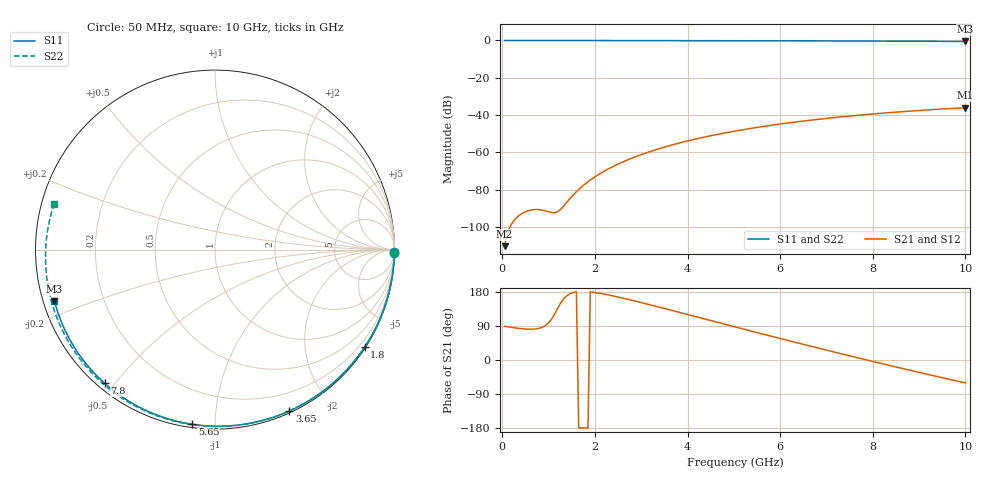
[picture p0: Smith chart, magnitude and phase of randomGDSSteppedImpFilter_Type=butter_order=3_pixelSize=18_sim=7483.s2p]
! freq	dB(S11)	phase(S11)	dB(S12)	phase(S12)
!  dB(S21)	phase(S21)	dB(S22)	phase(S22)
!S-par simulation data
#  GHz  S  DB  R 50
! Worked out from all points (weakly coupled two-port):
!   200 points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, 50 MHz to 10 GHz, reference 50 ohm
!   highest |S21| = -36.05 dB at 10 GHz (marker M1); lowest = -110.2 dB at 50 MHz (marker M2)
!   lowest |S11| = -0.5 dB at 10 GHz (marker M3), VSWR 32.00, Z = 1.6 - j7.82 ohm
!   |S11| at or under -10 dB: nowhere
!   |S22| runs from -0.6 to 0.0 dB; largest |S21 - S12| = 0
!   S11 on the Smith chart (normalised r, x): 50 MHz: open; 1.8 GHz: 0.03, -3.36; 3.65 GHz: 0.02, -1.56; 5.65 GHz: 0.02, -0.88; 7.8 GHz: 0.02, -0.47; 10 GHz: 0.03, -0.16
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0.05  -0.00 -0.9  -110.17 89.0  -110.17 89.0  -0.00 -1.1
0.45  -0.01 -8.4  -92.34 82.1  -92.34 82.1  -0.02 -10.2
0.8  -0.02 -14.9  -90.62 83.8  -90.62 83.8  -0.02 -18.2
1.2  -0.03 -22.2  -91.61 137.5  -91.61 137.5  -0.03 -27.1
1.6  -0.04 -29.5  -81.01 179.8  -81.01 179.8  -0.05 -36.0
1.65  -0.04 -30.4  -79.82 -179.4  -79.82 -179.4  -0.05 -37.1
1.75  -0.04 -32.2  -77.64 -179.1  -77.64 -179.1  -0.05 -39.3
1.8  -0.04 -33.1  -76.64 -179.3  -76.64 -179.3  -0.05 -40.4
2.1  -0.05 -38.5  -71.49 176.2  -71.49 176.2  -0.06 -46.8
2.5  -0.06 -45.6  -66.21 166.3  -66.21 166.3  -0.07 -55.3
2.9  -0.07 -52.5  -62.05 154.6  -62.05 154.6  -0.08 -63.7
3.4  -0.08 -61.1  -57.85 139.2  -57.85 139.2  -0.10 -73.9
3.65  -0.09 -65.3  -56.06 131.3  -56.06 131.3  -0.11 -78.8
4.35  -0.11 -76.8  -51.82 108.9  -51.82 108.9  -0.13 -92.5
5.05  -0.14 -88.0  -48.42 86.6  -48.42 86.6  -0.16 -105.6
5.65  -0.16 -97.4  -46.01 67.7  -46.01 67.7  -0.19 -116.6
6.7  -0.22 -113.3  -42.58 35.2  -42.58 35.2  -0.26 -135.3
7.25  -0.26 -121.4  -41.10 18.5  -41.10 18.5  -0.30 -145.0
7.8  -0.30 -129.5  -39.80 2.1  -39.80 2.1  -0.35 -154.8
8.35  -0.35 -137.6  -38.66 -14.1  -38.66 -14.1  -0.41 -164.7
9.2  -0.44 -150.1  -37.17 -38.4  -37.17 -38.4  -0.51 179.6
10  -0.54 -162.2  -36.05 -60.4  -36.05 -60.4  -0.61 164.0
